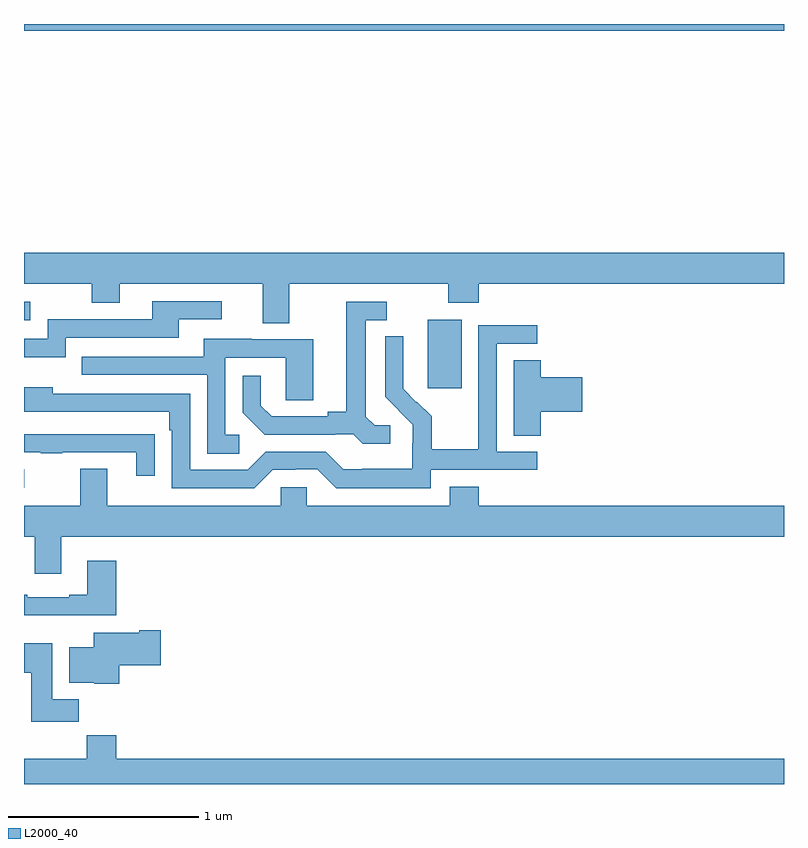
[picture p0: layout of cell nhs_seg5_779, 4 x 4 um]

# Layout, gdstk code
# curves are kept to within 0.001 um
import gdstk
lib = gdstk.Library(unit=1e-6, precision=1e-09)
def R(c, l, rs):  # rectangles x0, y0, x1, y1
    for r in rs: c.add(gdstk.rectangle(r[:2], r[2:], *l))
def P(c, l, *ps):  # polygons
    for p in ps: c.add(gdstk.Polygon(p, *l))
L2000_40 = (2000, 40)

nhs_seg5_779 = lib.new_cell('nhs_seg5_779')
R(nhs_seg5_779, L2000_40, [(161,850.359,161.002,850.455), (163.124,850.881,163.303,851.242), (161,851.241,161.032,851.337), (161,852.764,165,852.799)])
P(nhs_seg5_779, L2000_40, [(162.397,851.432),(163.234,851.432),(163.234,851.333),(163.394,851.333),(163.394,851.432),(165,851.432),(165,851.596),(161,851.596),(161,851.432),(161.356,851.432),(161.356,851.333),(161.503,851.333),(161.503,851.432),(162.257,851.432),(162.257,851.224),(162.397,851.224)],
  [(161.22,851.148),(161.815,851.148),(161.815,851.244),(162.04,851.244),(162.04,851.34),(161.675,851.34),(161.675,851.244),(161.124,851.244),(161.124,851.142),(161,851.142),(161,851.045),(161.22,851.045)],
  [(162.928,850.686),(162.846,850.686),(162.799,850.733),(162.799,851.241),(162.91,851.241),(162.91,851.337),(162.695,851.337),(162.695,850.757),(162.599,850.757),(162.599,850.734),(162.304,850.734),(162.247,850.791),(162.247,850.948),(162.15,850.948),(162.15,850.754),(162.266,850.638),(162.638,850.638),(162.638,850.641),(162.732,850.641),(162.784,850.589),(162.928,850.589)],
  [(163.14,850.452),(163.702,850.452),(163.702,850.548),(163.488,850.548),(163.488,851.115),(163.702,851.115),(163.702,851.214),(163.392,851.214),(163.392,850.784),(163.39,850.784),(163.39,850.561),(163.145,850.561),(163.145,850.735),(163.068,850.812),(163.065,850.809),(162.995,850.88),(162.996,851.156),(162.9,851.156),(162.9,850.838),(163.046,850.69),(163.046,850.593),(163.044,850.593),(163.044,850.459),(162.781,850.459),(162.781,850.455),(162.681,850.455),(162.588,850.548),(162.273,850.548),(162.177,850.452),(161.874,850.452),(161.874,850.854),(161.15,850.854),(161.15,850.888),(161,850.888),(161,850.758),(161.765,850.758),(161.765,850.661),(161.778,850.661),(161.778,850.356),(162.213,850.356),(162.309,850.452),(162.428,850.452),(162.428,850.455),(162.543,850.455),(162.643,850.355),(163.14,850.355)],
  [(162.133,850.638),(162.06,850.638),(162.06,851.043),(162.378,851.043),(162.378,850.819),(162.523,850.819),(162.523,851.139),(162.199,851.139),(162.199,851.143),(161.945,851.143),(161.945,851.049),(161.305,851.049),(161.305,850.953),(161.964,850.953),(161.964,850.537),(162.133,850.537)],
  [(163.721,850.757),(163.939,850.757),(163.939,850.94),(163.721,850.94),(163.721,851.03),(163.577,851.03),(163.577,850.633),(163.721,850.633)],
  [(161.687,850.64),(161.585,850.64),(161.585,850.641),(161,850.641),(161,850.545),(161.089,850.545),(161.089,850.54),(161.201,850.54),(161.201,850.545),(161.591,850.545),(161.591,850.422),(161.687,850.422)],
  [(161.197,850.1),(165,850.1),(165,850.264),(163.394,850.264),(163.394,850.363),(163.241,850.363),(163.241,850.264),(162.489,850.264),(162.489,850.362),(162.351,850.362),(162.351,850.264),(161.437,850.264),(161.437,850.459),(161.297,850.459),(161.297,850.264),(161,850.264),(161,850.1),(161.057,850.1),(161.057,849.906),(161.197,849.906)],
  [(161.486,849.973),(161.333,849.973),(161.333,849.796),(161.237,849.796),(161.237,849.783),(161.017,849.783),(161.017,849.796),(161,849.796),(161,849.686),(161.486,849.686)],
  [(161.501,849.425),(161.719,849.425),(161.719,849.608),(161.606,849.608),(161.606,849.595),(161.366,849.595),(161.366,849.52),(161.237,849.52),(161.237,849.332),(161.37,849.332),(161.37,849.326),(161.501,849.326)],
  [(161.288,849.244),(161.149,849.244),(161.149,849.541),(161,849.541),(161,849.385),(161.039,849.385),(161.039,849.126),(161.288,849.126)],
  [(165,848.932),(161.486,848.932),(161.486,849.056),(161.329,849.056),(161.329,848.932),(161,848.932),(161,848.799),(165,848.799)])

lib.write_gds('nhs_seg5_779.gds')
